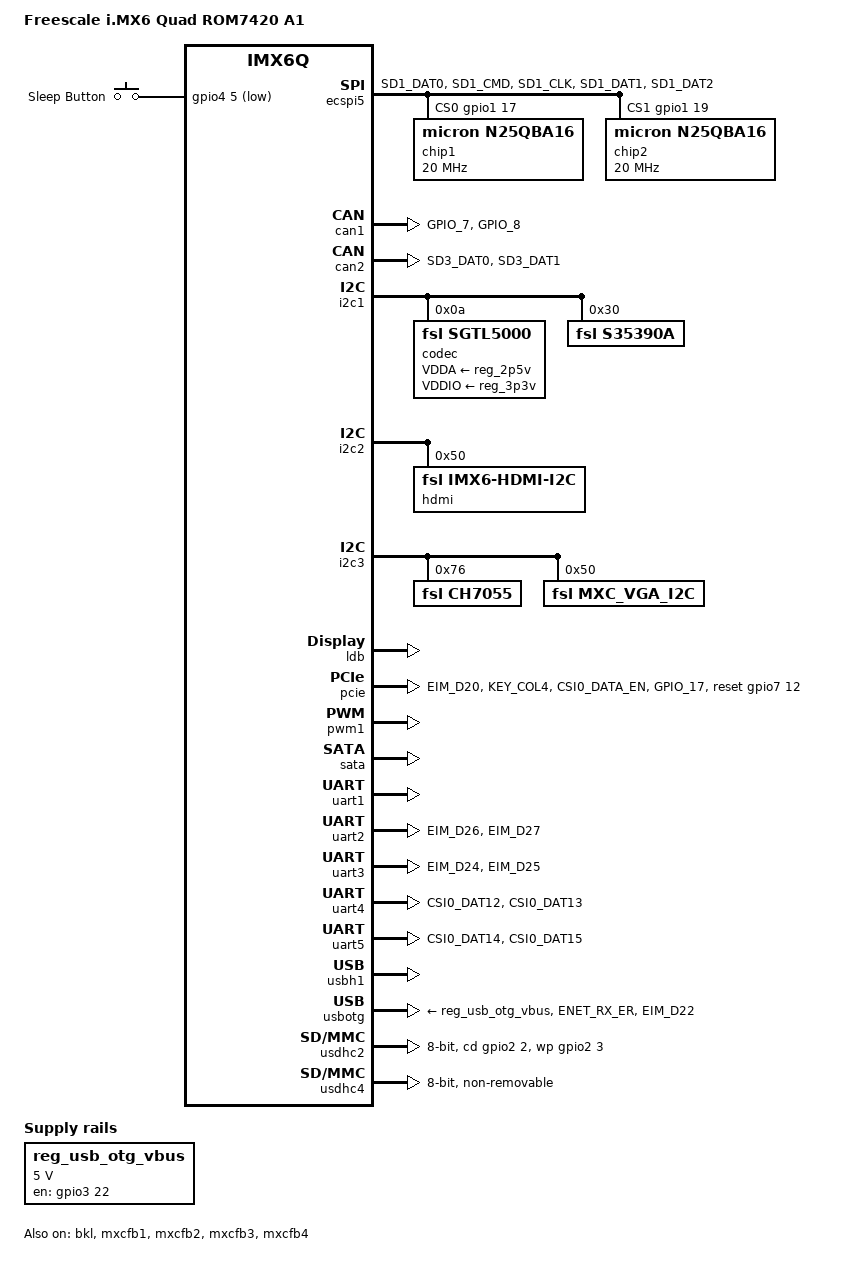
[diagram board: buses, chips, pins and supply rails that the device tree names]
/*
 * Copyright 2012 Freescale Semiconductor, Inc.
 * Copyright 2011 Linaro Ltd.
 *
 * The code contained herein is licensed under the GNU General Public
 * License. You may obtain a copy of the GNU General Public License
 * Version 2 or later at the following locations:
 *
 * http://www.opensource.org/licenses/gpl-license.html
 * http://www.gnu.org/copyleft/gpl.html
 */

/dts-v1/;

#include "imx6q.dtsi"
#include "imx6qdl-advantech.dtsi"

/ {
	model = "Freescale i.MX6 Quad ROM7420 A1";
	compatible = "fsl,imx6q-sabresd", "fsl,imx6q";

	board {
		compatible = "proc-board";
		board-type = "ROM-7420 A1";
		board-cpu = "DualQuad";
	};

	regulators {

		reg_usb_otg_vbus: usb_otg_vbus {
			compatible = "regulator-fixed";
			regulator-name = "usb_otg_vbus";
			regulator-min-microvolt = <5000000>;
			regulator-max-microvolt = <5000000>;
			gpio = <&gpio3 22 GPIO_ACTIVE_HIGH>;
			enable-active-high;
		};
	};

	gpio-keys {
		pinctrl-names = "default";
		pinctrl-0 = <&pinctrl_gpio_sleep_1>;
		compatible = "gpio-keys";
		sleep {
			label = "Sleep Button";
			gpios = <&gpio4 5 1>;
			linux,input-type = <1>;	/* EV_KEY */
			linux,code = <116>;	/* KEY_POWER */
			debounce_interval = <1>;
			gpio-key,wakeup;
		};
	};
};

&audio_sgtl5000 {
	audio-codec = <&codec>;
};

&bkl {
	lvds-bkl-enable = <&gpio6 9 1>;
	lvds-vcc-enable = <&gpio6 7 1>;
	pwms = <&pwm1 0 5000000>;
	status = "okay";
};

&ecspi1 {
	cs-gpios = <&gpio3 19 0>;
};

&ecspi5 {
	fsl,spi-num-chipselects = <2>;
	cs-gpios = <&gpio1 17 0>, <&gpio1 19 0>;
	pinctrl-names = "default";
	pinctrl-0 = <&pinctrl_ecspi5_1 &pinctrl_ecspi5_cs_0 &pinctrl_ecspi5_cs_1>;
	status = "okay";

	chip1: m25p80@0 {
		compatible = "micron,n25qba16";
		spi-max-frequency = <20000000>;
		reg = <0>;
	};
	chip2: m25p80@1 {
		compatible = "micron,n25qba16";
		spi-max-frequency = <20000000>;
		reg = <1>;
	};
};

&can1 {
	pinctrl-names = "default";
	pinctrl-0 = <&pinctrl_flexcan1_1>;
	status = "okay";
};

&can2 {
	pinctrl-names = "default";
	pinctrl-0 = <&pinctrl_flexcan2_1>;
	status = "okay";
};

&i2c1 {

	codec: sgtl5000@0a {
		compatible = "fsl,sgtl5000";
		reg = <0x0a>;
		clocks = <&clks 201>;
		VDDA-supply = <&reg_2p5v>;
		VDDIO-supply = <&reg_3p3v>;
		mclk = <16000000>;
		mclk_source = <0>;
	};

	s35390a@30 {
		compatible = "fsl,s35390a";
		reg = <0x30>;
	};
};

&i2c2 {

	hdmi: edid@50 {
		compatible = "fsl,imx6-hdmi-i2c";
		reg = <0x50>;
	};
};

&i2c3 {

	ch7055@76 {
		compatible = "fsl,ch7055";
		reg = <0x76>;
	};

	mxc_vga_i2c@50 {
		compatible = "fsl,mxc_vga_i2c";
		reg = <0x50>;
	};
};

&iomuxc {
	pinctrl-names = "default";
	pinctrl-0 = <&pinctrl_hog_1 &pinctrl_hog_2>;

	can1 {
		pinctrl_flexcan1_1: flexcan1grp-1 {
			fsl,pins = <
				MX6QDL_PAD_GPIO_7__FLEXCAN1_TX		0x80000000
				MX6QDL_PAD_GPIO_8__FLEXCAN1_RX		0x80000000
			>;
		};
	};

	can2 {
		pinctrl_flexcan2_1: flexcan2grp-1 {
			fsl,pins = <
				MX6QDL_PAD_SD3_DAT0__FLEXCAN2_TX	0x80000000
				MX6QDL_PAD_SD3_DAT1__FLEXCAN2_RX	0x80000000
			>;
		};
	};

	gpio-keys {
			pinctrl_gpio_sleep_1: gpio_sleep1grp-1 {
			fsl,pins = <
				MX6QDL_PAD_GPIO_19__GPIO4_IO05		0x80000000	/* SLEEP Button */
			>;
		};
	};

	hog {
		pinctrl_hog_2: hoggrp-2 {
			fsl,pins = <
				MX6QDL_PAD_NANDF_CS0__GPIO6_IO11	0x80000000	/* GPIO1 */
				MX6QDL_PAD_NANDF_CS1__GPIO6_IO14	0x80000000	/* GPIO2 */
				MX6QDL_PAD_NANDF_CS2__GPIO6_IO15	0x80000000	/* GPIO3 */
				MX6QDL_PAD_NANDF_CS3__GPIO6_IO16	0x80000000	/* GPIO4 */
				MX6QDL_PAD_EIM_CS0__GPIO2_IO23		0x80000000	/* GPIO5 */
				MX6QDL_PAD_EIM_CS1__GPIO2_IO24		0x80000000	/* GPIO6 */
				MX6QDL_PAD_EIM_OE__GPIO2_IO25		0x80000000	/* GPIO7 */
				MX6QDL_PAD_EIM_A25__GPIO5_IO02		0x80000000	/* GPIO8 */
			>;
		};
	};

	lvds {
		pinctrl_lvds_bkl_1: lvds_bklgrp-1 {
			fsl,pins = <
				MX6QDL_PAD_NANDF_WP_B__GPIO6_IO09	0x170b0		/* LCD_BKLT_EN */
			>;
		};
		pinctrl_lvds_vcc_1: lvds_vccgrp-1 {
			fsl,pins = <
				MX6QDL_PAD_NANDF_CLE__GPIO6_IO07	0x170b0		/* LCD_VDD_EN */
			>;
		};
	};

	pcie {
		pinctrl_pcie_1: pcie1grp-1 {
			fsl,pins = <
				MX6QDL_PAD_EIM_D20__GPIO3_IO20		0x80000000	/* PWR_EN */
				MX6QDL_PAD_KEY_COL4__GPIO4_IO14		0x0001B0B0	/* PCIE_DIS_B */
				MX6QDL_PAD_CSI0_DATA_EN__GPIO5_IO20	0x0001B0B0	/* PCIE_WAKE */
				MX6QDL_PAD_GPIO_17__GPIO7_IO12		0x80000000	/* PCIE_RST */
			>;
		};
	};

	spi1 {
		pinctrl_ecspi1_cs_0: ecspi1_cs_grp-0 {
			fsl,pins = <
				MX6QDL_PAD_EIM_D19__GPIO3_IO19		0x80000000	/* ECSPI1_CS1 */
			>;
		};
	};

	spi5 {
		pinctrl_ecspi5_cs_0: ecspi5_cs_grp-0 {
			fsl,pins = <
				MX6QDL_PAD_SD1_DAT1__GPIO1_IO17		0x80000000
			>;
		};

		pinctrl_ecspi5_cs_1: ecspi5_cs_grp-1 {
			fsl,pins = <
				MX6QDL_PAD_SD1_DAT2__GPIO1_IO19		0x80000000
			>;
		};

		pinctrl_ecspi5_1: ecspi5grp-1 {
			fsl,pins = <
				MX6QDL_PAD_SD1_DAT0__ECSPI5_MISO	0x100b1
				MX6QDL_PAD_SD1_CMD__ECSPI5_MOSI		0x100b1
				MX6QDL_PAD_SD1_CLK__ECSPI5_SCLK		0x100b1
			>;
		};
	};

	uart2 {
		pinctrl_uart2_1: uart2grp-1 {
			fsl,pins = <
				MX6QDL_PAD_EIM_D26__UART2_TX_DATA	0x1b0b1
				MX6QDL_PAD_EIM_D27__UART2_RX_DATA	0x1b0b1
			>;
		};
	};

	uart3 {
		pinctrl_uart3_2: uart3grp-2 {
			fsl,pins = <
				MX6QDL_PAD_EIM_D24__UART3_TX_DATA	0x1b0b1
				MX6QDL_PAD_EIM_D25__UART3_RX_DATA	0x1b0b1
			>;
		};
	};

	uart4 {
		pinctrl_uart4_1: uart4grp-1 {
			fsl,pins = <
				MX6QDL_PAD_CSI0_DAT12__UART4_TX_DATA	0x1b0b1
				MX6QDL_PAD_CSI0_DAT13__UART4_RX_DATA	0x1b0b1
			>;
		};
	};

	uart5 {
		pinctrl_uart5_1: uart5grp-1 {
			fsl,pins = <
				MX6QDL_PAD_CSI0_DAT14__UART5_TX_DATA	0x1b0b1
				MX6QDL_PAD_CSI0_DAT15__UART5_RX_DATA	0x1b0b1
			>;
		};
	};

	usbotg {
		pinctrl_usbotg_pwr_1: usbotg_pwr_grp-1 {
			fsl,pins = <
				MX6QDL_PAD_EIM_D22__GPIO3_IO22		0x000130B0	/* USB_OTG_PWR*/
			>;
		};
		pinctrl_usbotg_2: usbotggrp-2 {
			fsl,pins = <
				MX6QDL_PAD_ENET_RX_ER__USB_OTG_ID	0x0001B0B0
			>;
		};
	};
};

&ldb {
	status = "okay";
};

&mxcfb1 {
	status = "okay";
};

&mxcfb2 {
	status = "okay";
};

&mxcfb3 {
	status = "okay";
};

&mxcfb4 {
	status = "okay";
};

&pcie {
	pinctrl-names = "default";
	pinctrl-0 = <&pinctrl_pcie_1>;
	power-on-gpio = <&gpio3 20 0>;
	disable-gpio = <&gpio4 14 0>;
	wake-up-gpio = <&gpio5 20 0>;
	reset-gpio = <&gpio7 12 0>;
	status = "okay";
};

&pwm1 {
	pinctrl-names = "default";
	pinctrl-0 = <&pinctrl_pwm1_1>;
	status = "okay";
};

&sata {
	status = "okay";
};

&uart1 {
	pinctrl-names = "default";
	pinctrl-0 = <&pinctrl_uart1_1>;
	status = "okay";
};

&uart2 {
	pinctrl-names = "default";
	pinctrl-0 = <&pinctrl_uart2_1>;
	status = "okay";
};

&uart3 {
	pinctrl-names = "default";
	pinctrl-0 = <&pinctrl_uart3_2>;
	status = "okay";
};

&uart4 {
	pinctrl-names = "default";
	pinctrl-0 = <&pinctrl_uart4_1>;
	status = "okay";
};

&uart5 {
	pinctrl-names = "default";
	pinctrl-0 = <&pinctrl_uart5_1>;
	status = "okay";
};

&usbh1 {
	status = "okay";
};

&usbotg {
	pinctrl-names = "default";
	pinctrl-0 = <&pinctrl_usbotg_2 &pinctrl_usbotg_pwr_1>;
	vbus-supply = <&reg_usb_otg_vbus>;
	imx6-usb-charger-detection;
	status = "okay";
};

&usdhc2 {
	pinctrl-names = "default";
	pinctrl-0 = <&pinctrl_usdhc2_1>;
	bus-width = <8>;
	cd-gpios = <&gpio2 2 0>;
	wp-gpios = <&gpio2 3 0>;
	status = "okay";
};

&usdhc4 {
	pinctrl-names = "default";
	pinctrl-0 = <&pinctrl_usdhc4_1>;
	bus-width = <8>;
	non-removable;
	no-1-8-v;
	status = "okay";
};

